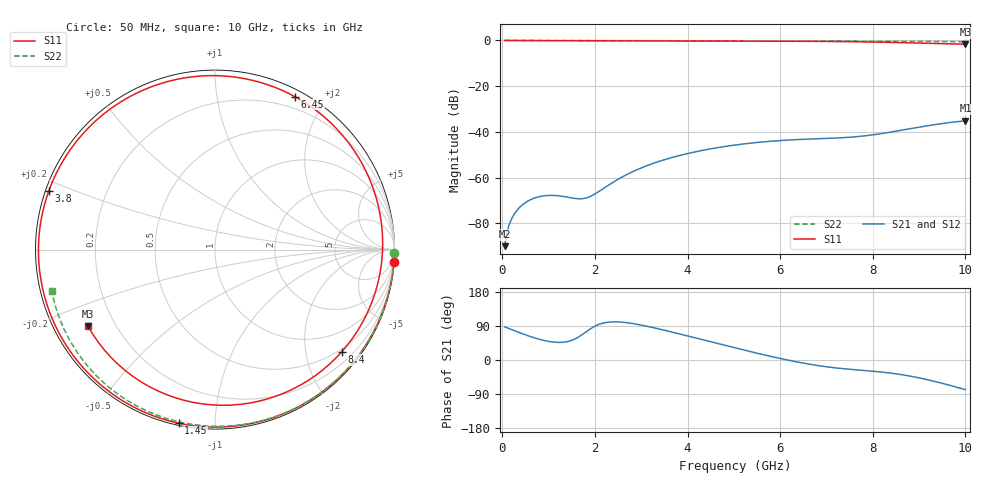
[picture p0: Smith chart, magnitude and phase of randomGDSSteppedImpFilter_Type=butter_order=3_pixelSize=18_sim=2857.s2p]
! freq	dB(S11)	phase(S11)	dB(S12)	phase(S12)
!  dB(S21)	phase(S21)	dB(S22)	phase(S22)
!S-par simulation data
#  GHz  S  DB  R 50
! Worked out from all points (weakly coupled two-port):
!   200 points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, 50 MHz to 10 GHz, reference 50 ohm
!   highest |S21| = -35.16 dB at 10 GHz (marker M1); lowest = -90.0 dB at 50 MHz (marker M2)
!   lowest |S11| = -1.7 dB at 10 GHz (marker M3), VSWR 10.51, Z = 5.12 - j13.8 ohm
!   |S11| at or under -10 dB: nowhere
!   |S22| runs from -0.6 to 0.0 dB; largest |S21 - S12| = 0
!   S11 on the Smith chart (normalised r, x): 50 MHz: 0, -28; 1.45 GHz: 0.01, -0.81; 3.8 GHz: 0.01, +0.17; 6.45 GHz: 0.07, +1.65; 8.4 GHz: 0.43, -2.77; 10 GHz: 0.10, -0.28
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0.05  -0.00 -4.0  -90.04 87.6  -90.04 87.6  -0.00 -1.0
0.15  -0.02 -12.1  -80.57 82.7  -80.57 82.7  -0.00 -2.9
0.45  -0.05 -35.5  -71.70 68.6  -71.70 68.6  -0.01 -8.6
0.75  -0.07 -57.6  -68.62 56.4  -68.62 56.4  -0.02 -14.3
1.1  -0.09 -81.0  -67.81 47.3  -67.81 47.3  -0.03 -20.9
1.45  -0.10 -101.8  -68.74 49.9  -68.74 49.9  -0.03 -27.5
1.75  -0.11 -117.8  -69.18 69.0  -69.18 69.0  -0.04 -33.1
2.55  -0.13 -153.7  -60.19 100.2  -60.19 100.2  -0.06 -47.7
3.4  -0.15 174.5  -52.84 81.5  -52.84 81.5  -0.08 -62.7
3.8  -0.16 160.5  -50.50 69.6  -50.50 69.6  -0.09 -69.5
5.05  -0.22 117.2  -45.71 31.2  -45.71 31.2  -0.14 -90.2
5.8  -0.27 89.2  -44.10 9.4  -44.10 9.4  -0.17 -102.1
6.45  -0.34 62.5  -43.31 -7.1  -43.31 -7.1  -0.21 -112.1
6.7  -0.38 51.4  -43.11 -12.5  -43.11 -12.5  -0.23 -115.9
7.6  -0.56 7.0  -42.20 -25.4  -42.20 -25.4  -0.29 -129.5
8  -0.69 -15.2  -41.31 -29.4  -41.31 -29.4  -0.33 -135.5
8.35  -0.83 -35.9  -40.24 -33.9  -40.24 -33.9  -0.36 -140.7
8.4  -0.85 -38.9  -40.07 -34.7  -40.07 -34.7  -0.37 -141.5
8.8  -1.04 -64.2  -38.65 -42.4  -38.65 -42.4  -0.41 -147.5
9.2  -1.26 -91.1  -37.28 -52.5  -37.28 -52.5  -0.45 -153.5
9.6  -1.47 -119.4  -36.08 -64.7  -36.08 -64.7  -0.50 -159.6
10  -1.66 -148.8  -35.16 -78.3  -35.16 -78.3  -0.55 -165.8
